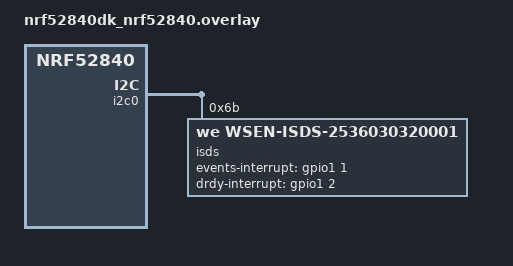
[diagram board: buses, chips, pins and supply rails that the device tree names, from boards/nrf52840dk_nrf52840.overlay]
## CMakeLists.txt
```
# SPDX-License-Identifier: Apache-2.0

cmake_minimum_required(VERSION 3.20.0)
find_package(Zephyr REQUIRED HINTS $ENV{ZEPHYR_BASE})
project(wsen_isds_2536030320001)

target_sources(app PRIVATE src/main.c)
```

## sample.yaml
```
sample:
  name: WSEN-ISDS-2536030320001 Sensor Sample
tests:
  sample.sensor.wsen-ISDS-2536030320001:
    harness: sensor
    tags: sensors
    depends_on: i2c gpio
    filter: dt_compat_enabled("we,wsen-isds-2536030320001")
```

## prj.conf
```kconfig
CONFIG_PRINTK=y
CONFIG_GPIO=y
CONFIG_I2C=y
# CONFIG_SPI=y
CONFIG_SENSOR=y
CONFIG_CBPRINTF_FP_SUPPORT=y

CONFIG_LOG=y
CONFIG_LOG_MODE_MINIMAL=y
CONFIG_ASSERT=y

# CONFIG_WSEN_ISDS_2536030320001_TRIGGER_OWN_THREAD=y
# CONFIG_WSEN_ISDS_2536030320001_TAP=y
```

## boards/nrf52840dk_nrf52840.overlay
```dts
&i2c0 {
	isds:isds-2536030320001@6B {
		compatible = "we,wsen-isds-2536030320001";
		reg = <0x6B>;
		accel-odr = "416";
		gyro-odr = "416";
		tap-threshold = < 9 >;
		tap-latency = < 5 >;
		tap-shock = < 2 >;
		tap-quiet = < 1 >;
		tap-mode = < 1 >;
		tap-axis-enable = < 0 0 1 >;
		events-interrupt-gpios = <&gpio1 1 GPIO_ACTIVE_HIGH>;
		drdy-interrupt-gpios = < &gpio1 2 GPIO_ACTIVE_HIGH >;
	};
};
```

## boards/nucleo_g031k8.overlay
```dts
&i2c1 {
	isds:isds-2536030320001@6B {
		compatible = "we,wsen-isds-2536030320001";
		reg = <0x6B>;
		accel-odr = "416";
		gyro-odr = "416";
		tap-threshold = < 9 >;
		tap-latency = < 5 >;
		tap-shock = < 2 >;
		tap-quiet = < 1 >;
		tap-mode = < 1 >;
		tap-axis-enable = < 0 0 1 >;
		events-interrupt-gpios = <&gpioa 1 GPIO_ACTIVE_HIGH>;
		drdy-interrupt-gpios = <&gpioa 0 GPIO_ACTIVE_HIGH>;
	};
};
```

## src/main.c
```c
/*
 * Copyright (c) 2023 Würth Elektronik eiSos GmbH & Co. KG
 *
 * SPDX-License-Identifier: Apache-2.0
 */

#include <zephyr/kernel.h>

#include <zephyr/sys/printk.h>
#include <zephyr/sys_clock.h>
#include <stdio.h>

#include <zephyr/device.h>
#include <zephyr/drivers/sensor.h>
#include <zephyr/drivers/i2c.h>
#include <zephyr/logging/log.h>

LOG_MODULE_REGISTER(MAIN);

#define MAX_TEST_TIME 50000
#define SLEEPTIME     500

static void process_sample_temp(const struct device *isds_2536030320001)
{
	struct sensor_value temp_value;

	if (sensor_sample_fetch_chan(isds_2536030320001, SENSOR_CHAN_AMBIENT_TEMP) < 0) {
		LOG_INF("sample update error.\n");
		return;
	}

	if (sensor_channel_get(isds_2536030320001, SENSOR_CHAN_AMBIENT_TEMP, &temp_value) < 0) {
		LOG_ERR("Temperature channel read error.\n");
		return;
	}

	LOG_INF("Temperature (Celsius): %f\n", sensor_value_to_float(&temp_value));
}

static void process_sample_acceleration(const struct device *isds_2536030320001)
{
	struct sensor_value accel_value[3];

	if (sensor_sample_fetch_chan(isds_2536030320001, SENSOR_CHAN_ACCEL_XYZ) < 0) {
		LOG_INF("sample update error.\n");
		return;
	}

	if (sensor_channel_get(isds_2536030320001, SENSOR_CHAN_ACCEL_XYZ, accel_value) < 0) {
		LOG_ERR("Acceleration channel read error.\n");
		return;
	}

	LOG_INF("Acceleration (g): x=%f, y=%f, z=%f\n",
		sensor_ms2_to_ug(&accel_value[0]) / 1000000.0f,
		sensor_ms2_to_ug(&accel_value[1]) / 1000000.0f,
		sensor_ms2_to_ug(&accel_value[2]) / 1000000.0f);
}

static void process_sample_gyro(const struct device *isds_2536030320001)
{
	struct sensor_value gyro_value[3];

	if (sensor_sample_fetch_chan(isds_2536030320001, SENSOR_CHAN_GYRO_XYZ) < 0) {
		LOG_INF("sample update error.\n");
		return;
	}

	if (sensor_channel_get(isds_2536030320001, SENSOR_CHAN_GYRO_XYZ, gyro_value) < 0) {
		LOG_ERR("Gyroscope channel read error.\n");
		return;
	}

	LOG_INF("Angular Rate (deg/s): x=%f, y=%f, z=%f\n",
		sensor_rad_to_10udegrees(&gyro_value[0]) / 100000.0f,
		sensor_rad_to_10udegrees(&gyro_value[1]) / 100000.0f,
		sensor_rad_to_10udegrees(&gyro_value[2]) / 100000.0f);
}

#ifdef CONFIG_WSEN_ISDS_2536030320001_TAP
static void tap_interrupt_handler(const struct device *isds_2536030320001,
				  const struct sensor_trigger *trig)
{
	LOG_INF("Single Tap.\n");
}

void tap_trigger(const struct device *isds_2536030320001)
{

	struct sensor_trigger trig = {
		.type = SENSOR_TRIG_TAP,
		.chan = SENSOR_CHAN_ALL,
	};

	if (sensor_trigger_set(isds_2536030320001, &trig, tap_interrupt_handler) < 0) {
		LOG_ERR("Failed to configure trigger.");
	}
}
#endif /* CONFIG_WSEN_ISDS_2536030320001_TAP */

#ifdef CONFIG_WSEN_ISDS_2536030320001_TRIGGER
static void accel_data_ready_interrupt_handler(const struct device *isds_2536030320001,
					       const struct sensor_trigger *trig)
{
	process_sample_acceleration(isds_2536030320001);
}

void accel_data_ready_trigger(const struct device *isds_2536030320001)
{

	struct sensor_trigger trig = {
		.type = SENSOR_TRIG_DATA_READY,
		.chan = SENSOR_CHAN_ACCEL_XYZ,
	};

	if (sensor_trigger_set(isds_2536030320001, &trig, accel_data_ready_interrupt_handler) < 0) {
		LOG_ERR("Failed to configure trigger.");
	}
}
#endif /* CONFIG_WSEN_ISDS_2536030320001_TRIGGER */

int main(void)
{
	const struct device *const isds_2536030320001 = DEVICE_DT_GET(DT_NODELABEL(isds));

	if (!device_is_ready(isds_2536030320001)) {
		LOG_ERR("sensor: device not ready.\n");
		return 0;
	}

	k_sleep(K_MSEC(SLEEPTIME));

#ifdef CONFIG_WSEN_ISDS_2536030320001_TRIGGER
		/* interrupt mode */
		accel_data_ready_trigger(isds_2536030320001);
#ifdef CONFIG_WSEN_ISDS_2536030320001_TAP
		tap_trigger(isds_2536030320001);
#endif /* CONFIG_WSEN_ISDS_2536030320001_TAP */

#else
		/* polling mode */
		int32_t remaining_test_time = MAX_TEST_TIME;

		do {
			process_sample_temp(isds_2536030320001);
			process_sample_acceleration(isds_2536030320001);
			process_sample_gyro(isds_2536030320001);
			/* wait a while */
			k_sleep(K_MSEC(SLEEPTIME));

			remaining_test_time -= SLEEPTIME;
		} while (remaining_test_time > 0);
#endif /* CONFIG_WSEN_ISDS_2536030320001_TRIGGER */

	k_sleep(K_FOREVER);
	return 0;
}
```
